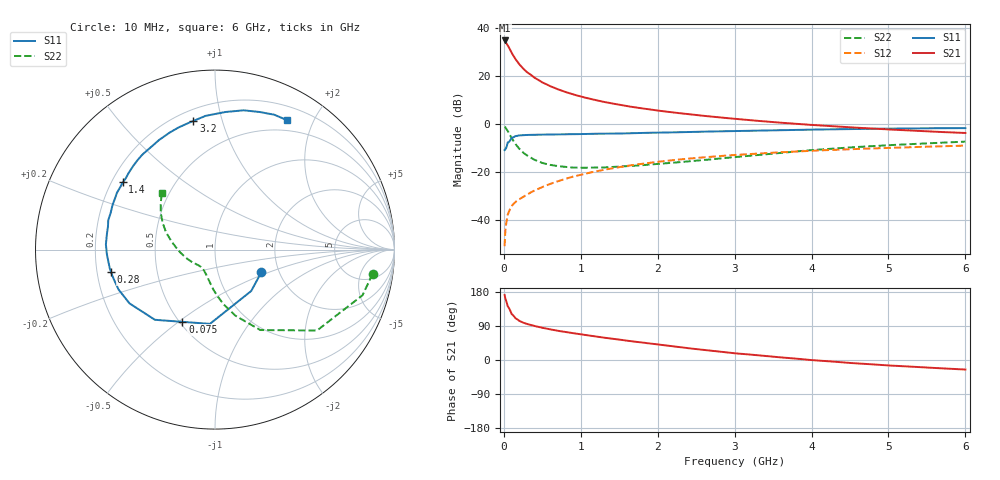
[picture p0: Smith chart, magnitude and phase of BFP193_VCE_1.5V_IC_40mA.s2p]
! Infineon Technologies  Discrete & RF Semiconductors
! BFP193
! VCE = 1.5 V,  IC =  40 mA
! Common Emitter S-Parameters:  Jan 2016
# GHz  S  MA  R  50
!  f  S11  S21  S12  S22
! GHz  MAG  ANG  MAG  ANG  MAG  ANG  MAG  ANG
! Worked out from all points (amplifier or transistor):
!   210 points, 10 MHz to 6 GHz, reference 50 ohm
!   highest |S21| = 34.8 dB at 10 MHz (marker M1)
!   |S21| within 3 dB of that: start of sweep to 67.05 MHz
!   unconditionally stable (mu >= 1): 486.7 MHz to 3.982 GHz
!   at 185 MHz: K = 0.68, MSG = 28.6 dB, |S12| = -31.6 dB
!   at 1.52 GHz: K = 1.09, MAG = 11.0 dB, |S12| = -17.8 dB
!   at 6 GHz: K = 0.96, MSG = 2.6 dB, |S12| = -8.9 dB
!   S11 on the Smith chart (normalised r, x): 10 MHz: 1.62, -0.45; 75 MHz: 0.52, -0.52; 280 MHz: 0.26, -0.10; 1.4 GHz: 0.24, +0.31; 3.2 GHz: 0.27, +0.81; 6 GHz: 0.36, +1.64
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0.01  0.2874 -26.3  54.83 171.5  0.0029 84.6  0.8882 -8.8
0.02  0.3064 -48.8  52.17 162.2  0.0061 74.2  0.8603 -17.2
0.05  0.4147 -93.9  43.8 142.2  0.013 63.9  0.7256 -38.4
0.075  0.4414 -114.3  36.63 133.9  0.0164 58.7  0.6088 -47.6
0.1  0.5149 -130.6  30.59 121.9  0.0198 55.3  0.5145 -60.6
0.15  0.5627 -147.8  22.49 110.4  0.0239 53.1  0.3854 -72.8
0.2  0.5816 -157.5  17.62 103.4  0.0275 53.8  0.3084 -81.1
0.24  0.5871 -163.4  14.93 99.7  0.03 55.0  0.2659 -86.0
0.28  0.5925 -167.8  12.94 96.5  0.0328 56.6  0.2365 -90.2
0.3  0.5955 -169.8  12.06 94.9  0.0343 57.4  0.224 -92.2
0.4  0.6029 -177.5  9.184 89.5  0.0417 60.1  0.1803 -100.0
0.5  0.6086 177.3  7.367 85.0  0.0489 61.7  0.1557 -106.4
0.6  0.6086 172.4  6.175 80.9  0.0569 62.5  0.1423 -111.6
0.7  0.6099 167.9  5.315 77.1  0.0646 63.3  0.1339 -115.9
1.02  0.6229 155.9  3.678 67.1  0.0899 62.1  0.1238 -127.2
1.4  0.6359 143.9  2.693 56.5  0.1197 58.6  0.1281 -137.8
2.02  0.667 126.8  1.896 40.5  0.1659 51.0  0.1494 -154.1
3.1  0.7217 101.5  1.247 16.1  0.2332 36.8  0.2127 178.3
3.2  0.7268 99.5  1.208 14.4  0.2385 35.6  0.22 176.0
4.1  0.7726 84.1  0.94 -1.6  0.2838 24.5  0.2958 159.0
5.1  0.8084 70.8  0.761 -15.4  0.3239 13.3  0.3711 144.6
6  0.825 61.1  0.654 -25.2  0.3573 3.6  0.4323 133.1
